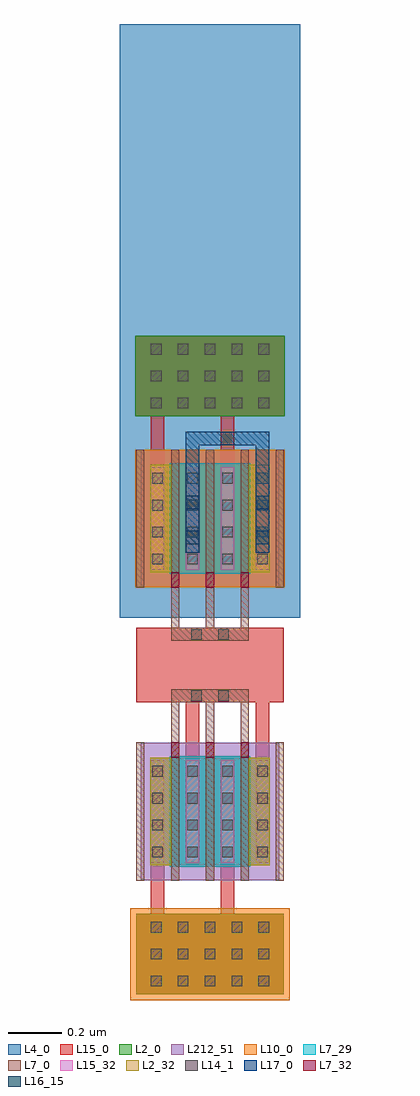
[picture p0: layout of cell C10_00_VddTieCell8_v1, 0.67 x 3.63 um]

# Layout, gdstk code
import gdstk
lib = gdstk.Library(unit=1e-6, precision=1e-09)
def R(c, l, rs):  # rectangles x0, y0, x1, y1
    for r in rs: c.add(gdstk.rectangle(r[:2], r[2:], *l))
def A(c, l, x, y, w, h, nx, ny, dx, dy):  # array of equal rectangles
    R(c, l, [(x+i*dx, y+j*dy, x+i*dx+w, y+j*dy+h) for i in range(nx) for j in range(ny)])
L2_0 = (2, 0)
L2_32 = (2, 32)
L4_0 = (4, 0)
L7_0 = (7, 0)
L7_29 = (7, 29)
L7_32 = (7, 32)
L10_0 = (10, 0)
L14_1 = (14, 1)
L15_0 = (15, 0)
L15_32 = (15, 32)
L16_15 = (16, 15)
L17_0 = (17, 0)
L212_51 = (212, 51)

c10_00_vddtiecell8_v1_sr = lib.new_cell('C10_00_VddTieCell8_v1:SRF_TieCellNMOSRouted:SRF_Nmos:SRF_Gate_ViaM0Mx:SRF_ViaM0M1')
R(c10_00_vddtiecell8_v1_sr, L7_0, [(-0.01,-0.004,0.15,0.044)])
R(c10_00_vddtiecell8_v1_sr, L14_1, [(0,0,0.04,0.04), (0.1,0,0.14,0.04)])
R(c10_00_vddtiecell8_v1_sr, L15_0, [(-0.021,-0.005,0.161,0.045)])

c_c10_00_vddtiecell8_v1_sr = lib.new_cell('C10_00_VddTieCell8_v1:SRF_TieCellNMOSRouted:SRF_Nmos:SRF_Gate_ViaM0Mx')
c_c10_00_vddtiecell8_v1_sr.add(gdstk.Reference(c10_00_vddtiecell8_v1_sr, (-0.07,-0.02)))

c_c10_00_vddtiecell8_v1_sr_ = lib.new_cell('C10_00_VddTieCell8_v1:SRF_TieCellNMOSRouted:SRF_Nmos')
R(c_c10_00_vddtiecell8_v1_sr_, L2_0, [(-0.078,0.057,0.368,0.457)])
R(c_c10_00_vddtiecell8_v1_sr_, L2_32, [(-0.078,0.057,0,0.457), (0.29,0.057,0.368,0.457)])
A(c_c10_00_vddtiecell8_v1_sr_, L7_0, -0.13, 0, 0.03, 0.514, 5, 1, 0.13, 0)
A(c_c10_00_vddtiecell8_v1_sr_, L7_0, 0, 0.514, 0.03, 0.15, 3, 1, 0.13, 0)
R(c_c10_00_vddtiecell8_v1_sr_, L7_0, [(0,0.664,0.29,0.712)])
R(c_c10_00_vddtiecell8_v1_sr_, L7_29, [(-0.005,0.052,0.295,0.462)])
A(c_c10_00_vddtiecell8_v1_sr_, L7_32, 0, 0.457, 0.03, 0.057, 3, 1, 0.13, 0)
A(c_c10_00_vddtiecell8_v1_sr_, L14_1, -0.07, 0.087, 0.04, 0.04, 4, 4, 0.13, 0.1)
R(c_c10_00_vddtiecell8_v1_sr_, L15_0, [(-0.075,0.066,-0.025,0.448), (-0.075,0.066,-0.025,0.448), (0.055,0.066,0.105,0.448), (0.055,0.066,0.105,0.448), (0.185,0.066,0.235,0.448), (0.185,0.066,0.235,0.448), (0.315,0.066,0.365,0.448), (0.315,0.066,0.365,0.448), (0,0.663,0.29,0.713)])
A(c_c10_00_vddtiecell8_v1_sr_, L15_32, -0.075, 0.066, 0.05, 0.382, 4, 1, 0.13, 0)
R(c_c10_00_vddtiecell8_v1_sr_, L212_51, [(-0.113,0.001,0.403,0.513)])
c_c10_00_vddtiecell8_v1_sr_.add(gdstk.Reference(c_c10_00_vddtiecell8_v1_sr, (0.145,0.688)))

c_c10_00_vddtiecell8_v1_sr__ = lib.new_cell('C10_00_VddTieCell8_v1:SRF_TieCellNMOSRouted')
c_c10_00_vddtiecell8_v1_sr__.add(gdstk.Reference(c_c10_00_vddtiecell8_v1_sr_, (0,0)))

c_c10_00_vddtiecell8_v1_sr___ = lib.new_cell('C10_00_VddTieCell8_v1:SRF_TieCellPMOSRouted:SRF_Pmos:SRF_Drain_ViaM1M2:SRF_ViaM1M2')
R(c_c10_00_vddtiecell8_v1_sr___, L15_0, [(0,-0.162,0.05,0.082)])
R(c_c10_00_vddtiecell8_v1_sr___, L16_15, [(0,-0.13,0.05,-0.08), (0,0,0.05,0.05)])
R(c_c10_00_vddtiecell8_v1_sr___, L17_0, [(0,-0.162,0.05,0.082)])

c_c10_00_vddtiecell8_v1_sr____ = lib.new_cell('C10_00_VddTieCell8_v1:SRF_TieCellPMOSRouted:SRF_Pmos:SRF_Drain_ViaM1M2')
c_c10_00_vddtiecell8_v1_sr____.add(gdstk.Reference(c_c10_00_vddtiecell8_v1_sr___, (-0.025,0.04)))

c_c10_00_vddtiecell8_v1_sr_____ = lib.new_cell('C10_00_VddTieCell8_v1:SRF_TieCellPMOSRouted:SRF_Pmos:SRF_Gate_ViaM0Mx:SRF_ViaM0M1')
R(c_c10_00_vddtiecell8_v1_sr_____, L7_0, [(-0.01,-0.004,0.15,0.044)])
R(c_c10_00_vddtiecell8_v1_sr_____, L14_1, [(0,0,0.04,0.04), (0.1,0,0.14,0.04)])
R(c_c10_00_vddtiecell8_v1_sr_____, L15_0, [(-0.021,-0.005,0.161,0.045)])

c_c10_00_vddtiecell8_v1_sr______ = lib.new_cell('C10_00_VddTieCell8_v1:SRF_TieCellPMOSRouted:SRF_Pmos:SRF_Gate_ViaM0Mx')
c_c10_00_vddtiecell8_v1_sr______.add(gdstk.Reference(c_c10_00_vddtiecell8_v1_sr_____, (-0.07,-0.02)))

c_c10_00_vddtiecell8_v1_sr_______ = lib.new_cell('C10_00_VddTieCell8_v1:SRF_TieCellPMOSRouted:SRF_Pmos')
R(c_c10_00_vddtiecell8_v1_sr_______, L2_0, [(-0.078,0.057,0.368,0.457)])
R(c_c10_00_vddtiecell8_v1_sr_______, L2_32, [(-0.078,0.057,0,0.457), (0.29,0.057,0.368,0.457)])
A(c_c10_00_vddtiecell8_v1_sr_______, L7_0, 0, -0.15, 0.03, 0.15, 3, 1, 0.13, 0)
A(c_c10_00_vddtiecell8_v1_sr_______, L7_0, -0.13, 0, 0.03, 0.514, 5, 1, 0.13, 0)
R(c_c10_00_vddtiecell8_v1_sr_______, L7_0, [(0,-0.198,0.29,-0.15)])
R(c_c10_00_vddtiecell8_v1_sr_______, L7_29, [(-0.005,0.052,0.295,0.462)])
A(c_c10_00_vddtiecell8_v1_sr_______, L7_32, 0, 0, 0.03, 0.057, 3, 1, 0.13, 0)
R(c_c10_00_vddtiecell8_v1_sr_______, L10_0, [(-0.134,0.001,0.424,0.513)])
A(c_c10_00_vddtiecell8_v1_sr_______, L14_1, -0.07, 0.087, 0.04, 0.04, 4, 4, 0.13, 0.1)
R(c_c10_00_vddtiecell8_v1_sr_______, L15_0, [(0,-0.199,0.29,-0.149), (-0.075,0.066,-0.025,0.448), (-0.075,0.066,-0.025,0.448), (0.055,0.066,0.105,0.448), (0.055,0.066,0.105,0.448), (0.185,0.066,0.235,0.448), (0.185,0.066,0.235,0.448), (0.315,0.066,0.365,0.448), (0.315,0.066,0.365,0.448)])
A(c_c10_00_vddtiecell8_v1_sr_______, L15_32, -0.075, 0.066, 0.05, 0.382, 4, 1, 0.13, 0)
R(c_c10_00_vddtiecell8_v1_sr_______, L17_0, [(0.055,0.13,0.105,0.53), (0.315,0.13,0.365,0.53), (0.055,0.53,0.365,0.58)])
R(c_c10_00_vddtiecell8_v1_sr_______, L212_51, [(-0.113,0.001,0.403,0.513)])
c_c10_00_vddtiecell8_v1_sr_______.add(gdstk.Reference(c_c10_00_vddtiecell8_v1_sr____, (0.08,0.252)))
c_c10_00_vddtiecell8_v1_sr_______.add(gdstk.Reference(c_c10_00_vddtiecell8_v1_sr____, (0.34,0.252)))
c_c10_00_vddtiecell8_v1_sr_______.add(gdstk.Reference(c_c10_00_vddtiecell8_v1_sr______, (0.145,-0.174)))

c_c10_00_vddtiecell8_v1_sr________ = lib.new_cell('C10_00_VddTieCell8_v1:SRF_TieCellPMOSRouted')
c_c10_00_vddtiecell8_v1_sr________.add(gdstk.Reference(c_c10_00_vddtiecell8_v1_sr_______, (0,0)))

c_c10_00_vddtiecell8_v1_sr_________ = lib.new_cell('C10_00_VddTieCell8_v1:SRF_PMOS_Body_Contact:SRF_NbodyContactPhyLen')
R(c_c10_00_vddtiecell8_v1_sr_________, L2_0, [(-0.059,-0.23,0.499,0.07)])
R(c_c10_00_vddtiecell8_v1_sr_________, L4_0, [(-0.115,-0.286,0.555,0.126)])
A(c_c10_00_vddtiecell8_v1_sr_________, L14_1, 0, -0.2, 0.04, 0.04, 5, 3, 0.1, 0.1)
R(c_c10_00_vddtiecell8_v1_sr_________, L15_0, [(-0.059,-0.23,0.499,0.07)])

c_c10_00_vddtiecell8_v1_sr__________ = lib.new_cell('C10_00_VddTieCell8_v1:SRF_PMOS_Body_Contact')
c_c10_00_vddtiecell8_v1_sr__________.add(gdstk.Reference(c_c10_00_vddtiecell8_v1_sr_________, (0,0)))

c_c10_00_vddtiecell8_v1_sr___________ = lib.new_cell('C10_00_VddTieCell8_v1:SRF_NMOS_Body_Contact:SRF_PbodyContactPhyLen')
R(c_c10_00_vddtiecell8_v1_sr___________, L2_0, [(-0.055,-0.23,0.495,0.07)])
R(c_c10_00_vddtiecell8_v1_sr___________, L10_0, [(-0.076,-0.251,0.516,0.091)])
A(c_c10_00_vddtiecell8_v1_sr___________, L14_1, 0, -0.2, 0.04, 0.04, 5, 3, 0.1, 0.1)
R(c_c10_00_vddtiecell8_v1_sr___________, L15_0, [(-0.055,-0.23,0.495,0.07)])

c_c10_00_vddtiecell8_v1_sr____________ = lib.new_cell('C10_00_VddTieCell8_v1:SRF_NMOS_Body_Contact')
c_c10_00_vddtiecell8_v1_sr____________.add(gdstk.Reference(c_c10_00_vddtiecell8_v1_sr___________, (0,0)))

c10_00_vddtiecell8_v1 = lib.new_cell('C10_00_VddTieCell8_v1')
R(c10_00_vddtiecell8_v1, L4_0, [(-0.19,0.979,0.48,1.671), (-0.19,0.979,0.48,3.187)])
R(c10_00_vddtiecell8_v1, L15_0, [(-0.075,-0.123,-0.025,0.066), (0.185,-0.123,0.235,0.066), (0.055,0.448,0.105,0.663), (0.315,0.448,0.365,0.663), (-0.075,1.538,-0.025,1.727), (0.185,1.538,0.235,1.727)])
c10_00_vddtiecell8_v1.add(gdstk.FlexPath([(0.145,0.941),(0.145,0.663)], 0.55, ends="flush", simple_path=True, layer=15, datatype=0))  # L15_0
c10_00_vddtiecell8_v1.add(gdstk.Reference(c_c10_00_vddtiecell8_v1_sr__, (0,0)))
c10_00_vddtiecell8_v1.add(gdstk.Reference(c_c10_00_vddtiecell8_v1_sr________, (0,1.09)))
c10_00_vddtiecell8_v1.add(gdstk.Reference(c_c10_00_vddtiecell8_v1_sr__________, (-0.075,1.957)))
c10_00_vddtiecell8_v1.add(gdstk.Reference(c_c10_00_vddtiecell8_v1_sr____________, (-0.075,-0.193)))

lib.write_gds('C10_00_VddTieCell8_v1.gds')
